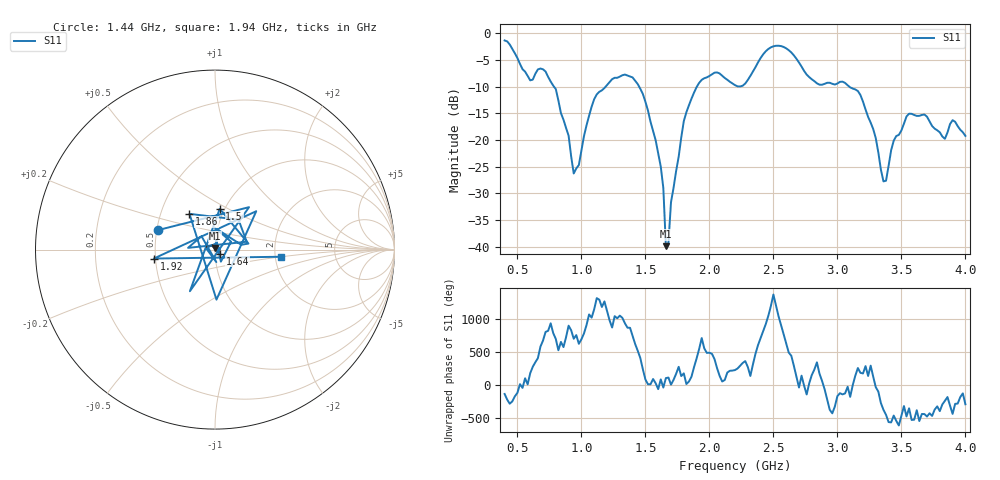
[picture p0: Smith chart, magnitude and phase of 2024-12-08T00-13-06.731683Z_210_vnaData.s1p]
!Created with skrf (http://scikit-rf.org).
# Hz S RI R 50.0
!freq ReS11 ImS11
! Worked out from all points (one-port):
!   181 points, 400 MHz to 4 GHz, reference 50 ohm
!   lowest |S11| = -39.9 dB at 1.66 GHz (marker M1), VSWR 1.02, Z = 49.7 + j0.976 ohm
!   |S11| at or under -10 dB: 786.6 MHz to 1.188 GHz (401.9 MHz wide, 40.7 % of centre); 1.452 GHz to 1.902 GHz (450 MHz wide, 26.8 % of centre); 3.094 GHz to end of sweep
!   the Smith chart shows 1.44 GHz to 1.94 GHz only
!   S11 on the Smith chart (normalised r, x): 1.44 GHz: 0.51, +0.12; 1.5 GHz: 0.95, +0.45; 1.64 GHz: 1.06, -0.05; 1.86 GHz: 0.70, +0.30; 1.92 GHz: 0.49, -0.06; 1.94 GHz: 2.14, -0.20
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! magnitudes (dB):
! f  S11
! 400 MHz  -1.3
! 600 MHz  -8.8
! 720 MHz  -7.1
! 860 MHz  -16.2
! 940 MHz  -26.3
! 1.1 GHz  -12.3
! 1.3 GHz  -8.1
! 1.44 GHz  -9.5
! 1.5 GHz  -12.8
! 1.64 GHz  -29.0
! 1.66 GHz  -39.9
! 1.68 GHz  -39.2
! 1.7 GHz  -31.7
! 1.76 GHz  -23.1
! 1.8 GHz  -16.4
! 1.86 GHz  -12.2
! 1.92 GHz  -9.3
! 1.94 GHz  -8.7
! 2.2 GHz  -9.7
! 2.48 GHz  -2.6
! 2.66 GHz  -4.1
! 2.84 GHz  -9.3
! 3.1 GHz  -10.1
! 3.28 GHz  -17.9
! 3.36 GHz  -27.7
! 3.44 GHz  -20.1
! 3.56 GHz  -15.0
! 4 GHz  -19.2
